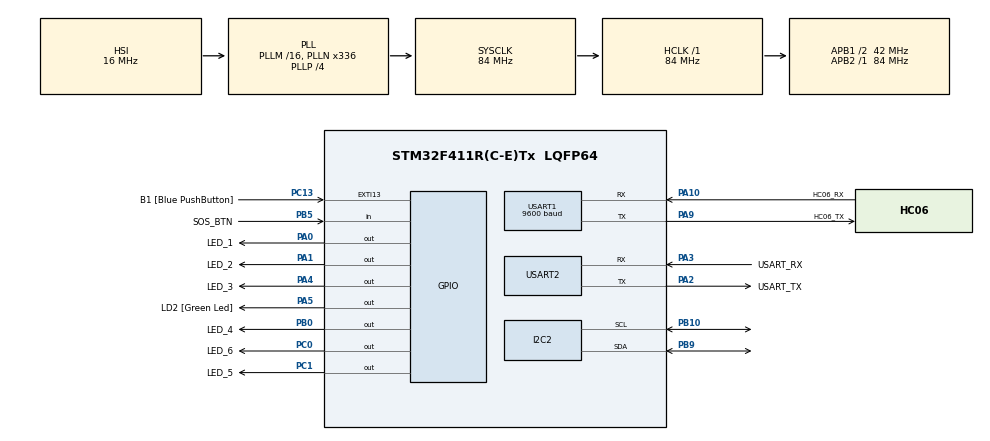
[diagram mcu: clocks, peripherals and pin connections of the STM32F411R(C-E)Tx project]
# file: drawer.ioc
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Mcu.Family=STM32F4
Mcu.Name=STM32F411R(C-E)Tx
Mcu.Package=LQFP64
NVIC.PriorityGroup=NVIC_PRIORITYGROUP_0
NVIC.USART1_IRQn=true\:0\:0\:false\:false\:true\:true\:true\:true
NVIC.USART2_IRQn=true\:0\:0\:false\:false\:true\:true\:true\:true
PA0-WKUP.GPIO_Label=LED_1
PA0-WKUP.Signal=GPIO_Output
PA1.GPIO_Label=LED_2
PA1.Signal=GPIO_Output
PA10.GPIO_Label=HC06_RX
PA10.Mode=Asynchronous
PA10.Signal=USART1_RX
PA13.GPIO_Label=TMS
PA13.Mode=Serial_Wire
PA13.Signal=SYS_JTMS-SWDIO
PA14.GPIO_Label=TCK
PA14.Mode=Serial_Wire
PA14.Signal=SYS_JTCK-SWCLK
PA2.GPIO_Label=USART_TX
PA2.Mode=Asynchronous
PA2.Signal=USART2_TX
PA3.GPIO_Label=USART_RX
PA3.Mode=Asynchronous
PA3.Signal=USART2_RX
PA4.GPIO_Label=LED_3
PA4.Signal=GPIO_Output
PA5.GPIO_Label=LD2 [Green Led]
PA5.Signal=GPIO_Output
PA9.GPIO_Label=HC06_TX
PA9.Mode=Asynchronous
PA9.Signal=USART1_TX
PB0.GPIO_Label=LED_4
PB0.Signal=GPIO_Output
PB10.Mode=I2C
PB10.Signal=I2C2_SCL
PB3.GPIO_Label=SWO
PB3.Signal=SYS_JTDO-SWO
PB5.GPIO_Label=SOS_BTN
PB5.GPIO_PuPd=GPIO_PULLUP
PB5.Signal=GPIO_Input
PB9.Mode=I2C
PB9.Signal=I2C2_SDA
PC0.GPIO_Label=LED_6
PC0.Signal=GPIO_Output
PC1.GPIO_Label=LED_5
PC1.Signal=GPIO_Output
PC13-ANTI_TAMP.GPIO_Label=B1 [Blue PushButton]
PC13-ANTI_TAMP.GPIO_ModeDefaultEXTI=GPIO_MODE_IT_FALLING
PC13-ANTI_TAMP.Signal=GPXTI13
PC14-OSC32_IN.Mode=LSE-External-Oscillator
PC14-OSC32_IN.Signal=RCC_OSC32_IN
PC15-OSC32_OUT.Mode=LSE-External-Oscillator
PC15-OSC32_OUT.Signal=RCC_OSC32_OUT
PH0\ -\ OSC_IN.Mode=HSE-External-Clock-Source
PH0\ -\ OSC_IN.Signal=RCC_OSC_IN
PH1\ -\ OSC_OUT.Mode=HSE-External-Clock-Source
PH1\ -\ OSC_OUT.Signal=RCC_OSC_OUT
ProjectManager.HeapSize=0x200
ProjectManager.StackSize=0x400
ProjectManager.TargetToolchain=CMake
RCC.48MHZClocksFreq_Value=84000000
RCC.AHBFreq_Value=84000000
RCC.APB1CLKDivider=RCC_HCLK_DIV2
RCC.APB1Freq_Value=42000000
RCC.APB1TimFreq_Value=84000000
RCC.APB2Freq_Value=84000000
RCC.APB2TimFreq_Value=84000000
RCC.CortexFreq_Value=84000000
RCC.FLatency-AdvancedSettings=FLASH_LATENCY_2
RCC.HCLKFreq_Value=84000000
RCC.HSE_VALUE=8000000
RCC.HSI_VALUE=16000000
RCC.PLLN=336
RCC.PLLP=RCC_PLLP_DIV4
RCC.SYSCLKFreq_VALUE=84000000
RCC.SYSCLKSource=RCC_SYSCLKSOURCE_PLLCLK
RCC.VCOOutputFreq_Value=336000000
USART1.BaudRate=9600
USART1.VirtualMode=VM_ASYNC
USART2.VirtualMode=VM_ASYNC
board=NUCLEO-F411RE

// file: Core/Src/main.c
/* USER CODE BEGIN Header */
/**
  ******************************************************************************
  * @file           : main.c
  * @brief          : Main program body
  ******************************************************************************
  * @attention
  *
  * Copyright (c) 2026 STMicroelectronics.
  * All rights reserved.
  *
  * This software is licensed under terms that can be found in the LICENSE file
  * in the root directory of this software component.
  * If no LICENSE file comes with this software, it is provided AS-IS.
  *
  ******************************************************************************
  */
/* USER CODE END Header */
#include "main.h"

/* USER CODE BEGIN Includes */
#include "serial_cmd.h"
#include "cmd_parser.h"
#include "drawer.h"
#include "emergency_button.h"
/* USER CODE END Includes */

I2C_HandleTypeDef hi2c2;

UART_HandleTypeDef huart1;
UART_HandleTypeDef huart2;

void SystemClock_Config(void);
static void MX_GPIO_Init(void);
static void MX_USART2_UART_Init(void);
static void MX_USART1_UART_Init(void);
static void MX_I2C2_Init(void);

/* USER CODE BEGIN 0 */
static UART_HandleTypeDef *drawer_reply_uart;

static void process_port(UART_HandleTypeDef *uart)
{
  char line[SERIAL_LINE_MAX], reply[SERIAL_LINE_MAX];
  SerialLineStatus status = serial_cmd_read_line(uart, line);
  if (status == SERIAL_LINE_TOO_LONG) {
    serial_cmd_send(uart, "ERR@UNKNOWN");
  } else if (status == SERIAL_LINE_OK) {
    Command cmd = {0};
    ParseResult result = cmd_parse(line, &cmd);
    if (result == PARSE_OK) {
      switch (cmd.type) {
        case CMD_DRAWER:
          if (drawer_reply_uart != NULL) {
            serial_cmd_send(uart, "ERR@DRAWER:BUSY");
          } else if (!drawer_i2c_check()) {
            serial_cmd_send(uart, "ERR@DRAWER:I2C");
          } else if (!drawer_open(cmd.drawer)) {
            serial_cmd_send(uart, "ERR@DRAWER:BUSY");
          } else {
            drawer_reply_uart = uart;
          }
          return;
        case CMD_LED: drawer_led(cmd.drawer, cmd.led_on); break;
        case CMD_LED_ALL_OFF: drawer_led_all_off(); break;
        case CMD_I2C_CHECK:
          serial_cmd_send(uart, drawer_i2c_check() ?
                          "OK@I2C:PCA9685" : "ERR@I2C:PCA9685");
          return;
        case CMD_PING: break;
      }
    }
    cmd_make_reply(result, &cmd, reply, sizeof(reply));
    serial_cmd_send(uart, reply);
  }
}
/* USER CODE END 0 */

int main(void)
{

  /* MCU Configuration--------------------------------------------------------*/

  /* Reset of all peripherals, Initializes the Flash interface and the Systick. */
  HAL_Init();

  /* Configure the system clock */
  SystemClock_Config();

  /* Initialize all configured peripherals */
  MX_GPIO_Init();
  MX_USART2_UART_Init();
  MX_USART1_UART_Init();
  MX_I2C2_Init();
  /* USER CODE BEGIN 2 */
  drawer_init(&hi2c2);
  emergency_button_init();
  serial_cmd_init(&huart1);
  serial_cmd_init(&huart2);
  /* USER CODE END 2 */

  /* Infinite loop */
  while (1)
  {

    /* USER CODE BEGIN 3 */
    DrawerEvent drawer_event = drawer_poll();
    if (drawer_event != DRAWER_EVENT_NONE && drawer_reply_uart != NULL) {
      serial_cmd_send(drawer_reply_uart,
                      drawer_event == DRAWER_EVENT_COMPLETE ?
                      "OK@DRAWER" : "ERR@DRAWER:I2C");
      drawer_reply_uart = NULL;
    }
    process_port(&huart1);
    process_port(&huart2);
    if (emergency_button_poll()) {
      serial_cmd_send(&huart1, "EVT@DRAWER:SOS");
      serial_cmd_send(&huart2, "EVT@DRAWER:SOS");
    }
  }
  /* USER CODE END 3 */
}

void SystemClock_Config(void)
{
  RCC_OscInitTypeDef RCC_OscInitStruct = {0};
  RCC_ClkInitTypeDef RCC_ClkInitStruct = {0};

  /** Configure the main internal regulator output voltage
  */
  __HAL_RCC_PWR_CLK_ENABLE();
  __HAL_PWR_VOLTAGESCALING_CONFIG(PWR_REGULATOR_VOLTAGE_SCALE1);

  /** Initializes the RCC Oscillators according to the specified parameters
  * in the RCC_OscInitTypeDef structure.
  */
  RCC_OscInitStruct.OscillatorType = RCC_OSCILLATORTYPE_HSI;
  RCC_OscInitStruct.HSIState = RCC_HSI_ON;
  RCC_OscInitStruct.HSICalibrationValue = RCC_HSICALIBRATION_DEFAULT;
  RCC_OscInitStruct.PLL.PLLState = RCC_PLL_ON;
  RCC_OscInitStruct.PLL.PLLSource = RCC_PLLSOURCE_HSI;
  RCC_OscInitStruct.PLL.PLLM = 16;
  RCC_OscInitStruct.PLL.PLLN = 336;
  RCC_OscInitStruct.PLL.PLLP = RCC_PLLP_DIV4;
  RCC_OscInitStruct.PLL.PLLQ = 4;
  if (HAL_RCC_OscConfig(&RCC_OscInitStruct) != HAL_OK)
  {
    Error_Handler();
  }

  /** Initializes the CPU, AHB and APB buses clocks
  */
  RCC_ClkInitStruct.ClockType = RCC_CLOCKTYPE_HCLK|RCC_CLOCKTYPE_SYSCLK
                              |RCC_CLOCKTYPE_PCLK1|RCC_CLOCKTYPE_PCLK2;
  RCC_ClkInitStruct.SYSCLKSource = RCC_SYSCLKSOURCE_PLLCLK;
  RCC_ClkInitStruct.AHBCLKDivider = RCC_SYSCLK_DIV1;
  RCC_ClkInitStruct.APB1CLKDivider = RCC_HCLK_DIV2;
  RCC_ClkInitStruct.APB2CLKDivider = RCC_HCLK_DIV1;

  if (HAL_RCC_ClockConfig(&RCC_ClkInitStruct, FLASH_LATENCY_2) != HAL_OK)
  {
    Error_Handler();
  }
}

static void MX_I2C2_Init(void)
{

  hi2c2.Instance = I2C2;
  hi2c2.Init.ClockSpeed = 100000;
  hi2c2.Init.DutyCycle = I2C_DUTYCYCLE_2;
  hi2c2.Init.OwnAddress1 = 0;
  hi2c2.Init.AddressingMode = I2C_ADDRESSINGMODE_7BIT;
  hi2c2.Init.DualAddressMode = I2C_DUALADDRESS_DISABLE;
  hi2c2.Init.OwnAddress2 = 0;
  hi2c2.Init.GeneralCallMode = I2C_GENERALCALL_DISABLE;
  hi2c2.Init.NoStretchMode = I2C_NOSTRETCH_DISABLE;
  if (HAL_I2C_Init(&hi2c2) != HAL_OK)
  {
    Error_Handler();
  }

}

static void MX_USART1_UART_Init(void)
{

  huart1.Instance = USART1;
  huart1.Init.BaudRate = 9600;
  huart1.Init.WordLength = UART_WORDLENGTH_8B;
  huart1.Init.StopBits = UART_STOPBITS_1;
  huart1.Init.Parity = UART_PARITY_NONE;
  huart1.Init.Mode = UART_MODE_TX_RX;
  huart1.Init.HwFlowCtl = UART_HWCONTROL_NONE;
  huart1.Init.OverSampling = UART_OVERSAMPLING_16;
  if (HAL_UART_Init(&huart1) != HAL_OK)
  {
    Error_Handler();
  }

}

static void MX_USART2_UART_Init(void)
{

  huart2.Instance = USART2;
  huart2.Init.BaudRate = 115200;
  huart2.Init.WordLength = UART_WORDLENGTH_8B;
  huart2.Init.StopBits = UART_STOPBITS_1;
  huart2.Init.Parity = UART_PARITY_NONE;
  huart2.Init.Mode = UART_MODE_TX_RX;
  huart2.Init.HwFlowCtl = UART_HWCONTROL_NONE;
  huart2.Init.OverSampling = UART_OVERSAMPLING_16;
  if (HAL_UART_Init(&huart2) != HAL_OK)
  {
    Error_Handler();
  }

}

static void MX_GPIO_Init(void)
{
  GPIO_InitTypeDef GPIO_InitStruct = {0};

  /* GPIO Ports Clock Enable */
  __HAL_RCC_GPIOC_CLK_ENABLE();
  __HAL_RCC_GPIOH_CLK_ENABLE();
  __HAL_RCC_GPIOA_CLK_ENABLE();
  __HAL_RCC_GPIOB_CLK_ENABLE();

  /*Configure GPIO pin Output Level */
  HAL_GPIO_WritePin(GPIOC, LED_6_Pin|LED_5_Pin, GPIO_PIN_RESET);

  /*Configure GPIO pin Output Level */
  HAL_GPIO_WritePin(GPIOA, LED_1_Pin|LED_2_Pin|LED_3_Pin|LD2_Pin, GPIO_PIN_RESET);

  /*Configure GPIO pin Output Level */
  HAL_GPIO_WritePin(LED_4_GPIO_Port, LED_4_Pin, GPIO_PIN_RESET);

  /*Configure GPIO pin : B1_Pin */
  GPIO_InitStruct.Pin = B1_Pin;
  GPIO_InitStruct.Mode = GPIO_MODE_IT_FALLING;
  GPIO_InitStruct.Pull = GPIO_NOPULL;
  HAL_GPIO_Init(B1_GPIO_Port, &GPIO_InitStruct);

  /*Configure GPIO pins : LED_6_Pin LED_5_Pin */
  GPIO_InitStruct.Pin = LED_6_Pin|LED_5_Pin;
  GPIO_InitStruct.Mode = GPIO_MODE_OUTPUT_PP;
  GPIO_InitStruct.Pull = GPIO_NOPULL;
  GPIO_InitStruct.Speed = GPIO_SPEED_FREQ_LOW;
  HAL_GPIO_Init(GPIOC, &GPIO_InitStruct);

  /*Configure GPIO pins : LED_1_Pin LED_2_Pin LED_3_Pin LD2_Pin */
  GPIO_InitStruct.Pin = LED_1_Pin|LED_2_Pin|LED_3_Pin|LD2_Pin;
  GPIO_InitStruct.Mode = GPIO_MODE_OUTPUT_PP;
  GPIO_InitStruct.Pull = GPIO_NOPULL;
  GPIO_InitStruct.Speed = GPIO_SPEED_FREQ_LOW;
  HAL_GPIO_Init(GPIOA, &GPIO_InitStruct);

  /*Configure GPIO pin : LED_4_Pin */
  GPIO_InitStruct.Pin = LED_4_Pin;
  GPIO_InitStruct.Mode = GPIO_MODE_OUTPUT_PP;
  GPIO_InitStruct.Pull = GPIO_NOPULL;
  GPIO_InitStruct.Speed = GPIO_SPEED_FREQ_LOW;
  HAL_GPIO_Init(LED_4_GPIO_Port, &GPIO_InitStruct);

  /*Configure GPIO pin : SOS_BTN_Pin */
  GPIO_InitStruct.Pin = SOS_BTN_Pin;
  GPIO_InitStruct.Mode = GPIO_MODE_INPUT;
  GPIO_InitStruct.Pull = GPIO_PULLUP;
  HAL_GPIO_Init(SOS_BTN_GPIO_Port, &GPIO_InitStruct);

}

void Error_Handler(void)
{
  __disable_irq();
  while (1)
  {
  }
}
